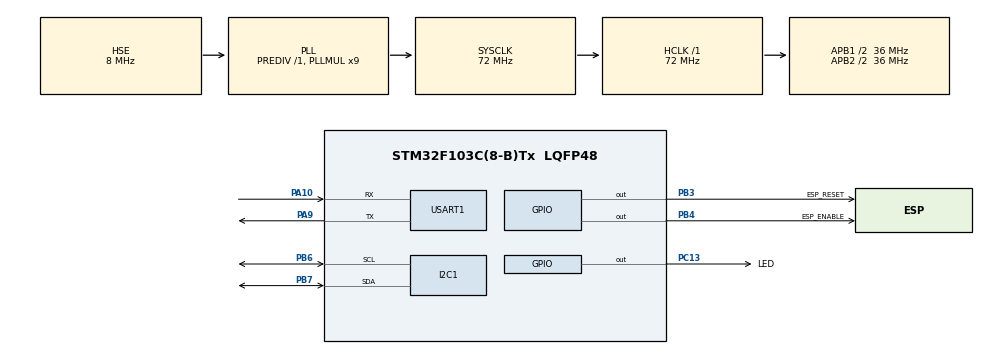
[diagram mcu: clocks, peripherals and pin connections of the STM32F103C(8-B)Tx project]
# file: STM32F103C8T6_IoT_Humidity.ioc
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Mcu.Family=STM32F1
Mcu.Name=STM32F103C(8-B)Tx
Mcu.Package=LQFP48
NVIC.PriorityGroup=NVIC_PRIORITYGROUP_4
NVIC.TIM2_IRQn=true\:0\:0\:false\:false\:true\:true\:true
NVIC.TIM3_IRQn=true\:0\:0\:false\:false\:true\:true\:true
NVIC.USART1_IRQn=true\:0\:0\:false\:false\:true\:true\:true
PA10.Mode=Asynchronous
PA10.Signal=USART1_RX
PA13.Mode=Serial_Wire
PA13.Signal=SYS_JTMS-SWDIO
PA14.Mode=Serial_Wire
PA14.Signal=SYS_JTCK-SWCLK
PA9.Mode=Asynchronous
PA9.Signal=USART1_TX
PB3.GPIO_Label=ESP_RESET
PB3.GPIO_Speed=GPIO_SPEED_FREQ_HIGH
PB3.PinState=GPIO_PIN_SET
PB3.Signal=GPIO_Output
PB4.GPIO_Label=ESP_ENABLE
PB4.GPIO_Speed=GPIO_SPEED_FREQ_HIGH
PB4.PinState=GPIO_PIN_SET
PB4.Signal=GPIO_Output
PB6.Mode=I2C
PB6.Signal=I2C1_SCL
PB7.Mode=I2C
PB7.Signal=I2C1_SDA
PC13-TAMPER-RTC.GPIO_Label=LED
PC13-TAMPER-RTC.GPIO_Speed=GPIO_SPEED_FREQ_HIGH
PC13-TAMPER-RTC.PinState=GPIO_PIN_SET
PC13-TAMPER-RTC.Signal=GPIO_Output
PD0-OSC_IN.Mode=HSE-External-Oscillator
PD0-OSC_IN.Signal=RCC_OSC_IN
PD1-OSC_OUT.Mode=HSE-External-Oscillator
PD1-OSC_OUT.Signal=RCC_OSC_OUT
ProjectManager.HeapSize=0x200
ProjectManager.StackSize=0x400
ProjectManager.TargetToolchain=STM32CubeIDE
RCC.AHBFreq_Value=72000000
RCC.APB1CLKDivider=RCC_HCLK_DIV2
RCC.APB1Freq_Value=36000000
RCC.APB1TimFreq_Value=72000000
RCC.APB2CLKDivider=RCC_HCLK_DIV2
RCC.APB2Freq_Value=36000000
RCC.APB2TimFreq_Value=72000000
RCC.HCLKFreq_Value=72000000
RCC.PLLMUL=RCC_PLL_MUL9
RCC.PLLSourceVirtual=RCC_PLLSOURCE_HSE
RCC.SYSCLKFreq_VALUE=72000000
RCC.SYSCLKSource=RCC_SYSCLKSOURCE_PLLCLK
RCC.USBFreq_Value=72000000
TIM2.Period=199
TIM2.Prescaler=7200
TIM3.Period=9999
TIM3.Prescaler=7200
USART1.VirtualMode=VM_ASYNC
VP_TIM2_VS_ClockSourceINT.Mode=Internal
VP_TIM3_VS_ClockSourceINT.Mode=Internal
board=custom

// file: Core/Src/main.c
/* USER CODE BEGIN Header */
/**
  ******************************************************************************
  * @file           : main.c
  * @brief          : Main program body
  ******************************************************************************
  * @attention
  *
  * <h2><center>&copy; Copyright (c) 2021 STMicroelectronics.
  * All rights reserved.</center></h2>
  *
  * This software component is licensed by ST under BSD 3-Clause license,
  * the "License"; You may not use this file except in compliance with the
  * License. You may obtain a copy of the License at:
  *                        opensource.org/licenses/BSD-3-Clause
  *
  ******************************************************************************
  */
/* USER CODE END Header */
#include "main.h"

/* USER CODE BEGIN Includes */
#include "AHT15.h"
#include "ESP8266.h"
/* USER CODE END Includes */

I2C_HandleTypeDef hi2c1;

TIM_HandleTypeDef htim2;
TIM_HandleTypeDef htim3;

UART_HandleTypeDef huart1;

void SystemClock_Config(void);
static void MX_GPIO_Init(void);
static void MX_I2C1_Init(void);
static void MX_TIM2_Init(void);
static void MX_TIM3_Init(void);
static void MX_USART1_UART_Init(void);

int main(void)
{

  /* MCU Configuration--------------------------------------------------------*/

  /* Reset of all peripherals, Initializes the Flash interface and the Systick. */
  HAL_Init();

  /* Configure the system clock */
  SystemClock_Config();

  /* Initialize all configured peripherals */
  MX_GPIO_Init();
  MX_I2C1_Init();
  MX_TIM2_Init();
  MX_TIM3_Init();
  MX_USART1_UART_Init();
  /* USER CODE BEGIN 2 */
  HAL_TIM_Base_Start_IT(&htim2);// 20 ms
  HAL_TIM_Base_Start_IT(&htim3);// 1 s
  HAL_Delay(100);
  AHT15_reset();
  HAL_Delay(100);
  AHT15_init();
  AHT15_read_data();
  __HAL_UART_ENABLE_IT(&huart1, UART_IT_RXNE);
  ESP_Server_Init();
  /* USER CODE END 2 */

  /* Infinite loop */
  while (1)
  {

    /* USER CODE BEGIN 3 */
	  if(measure_humidity)
	  {
		  AHT15_read_data();
		  measure_humidity = 0;
	  }

	  if(messageHandlerFlag)
	  {
		  messageHandler();
		  messageHandlerFlag = 0;
	  }

	  if(seconds > 86400)// 24 hours
		  NVIC_SystemReset();
  }
  /* USER CODE END 3 */
}

void SystemClock_Config(void)
{
  RCC_OscInitTypeDef RCC_OscInitStruct = {0};
  RCC_ClkInitTypeDef RCC_ClkInitStruct = {0};

  /** Initializes the RCC Oscillators according to the specified parameters
  * in the RCC_OscInitTypeDef structure.
  */
  RCC_OscInitStruct.OscillatorType = RCC_OSCILLATORTYPE_HSE;
  RCC_OscInitStruct.HSEState = RCC_HSE_ON;
  RCC_OscInitStruct.HSEPredivValue = RCC_HSE_PREDIV_DIV1;
  RCC_OscInitStruct.HSIState = RCC_HSI_ON;
  RCC_OscInitStruct.PLL.PLLState = RCC_PLL_ON;
  RCC_OscInitStruct.PLL.PLLSource = RCC_PLLSOURCE_HSE;
  RCC_OscInitStruct.PLL.PLLMUL = RCC_PLL_MUL9;
  if (HAL_RCC_OscConfig(&RCC_OscInitStruct) != HAL_OK)
  {
    Error_Handler();
  }
  /** Initializes the CPU, AHB and APB buses clocks
  */
  RCC_ClkInitStruct.ClockType = RCC_CLOCKTYPE_HCLK|RCC_CLOCKTYPE_SYSCLK
                              |RCC_CLOCKTYPE_PCLK1|RCC_CLOCKTYPE_PCLK2;
  RCC_ClkInitStruct.SYSCLKSource = RCC_SYSCLKSOURCE_PLLCLK;
  RCC_ClkInitStruct.AHBCLKDivider = RCC_SYSCLK_DIV1;
  RCC_ClkInitStruct.APB1CLKDivider = RCC_HCLK_DIV2;
  RCC_ClkInitStruct.APB2CLKDivider = RCC_HCLK_DIV2;

  if (HAL_RCC_ClockConfig(&RCC_ClkInitStruct, FLASH_LATENCY_2) != HAL_OK)
  {
    Error_Handler();
  }
}

static void MX_I2C1_Init(void)
{

  hi2c1.Instance = I2C1;
  hi2c1.Init.ClockSpeed = 100000;
  hi2c1.Init.DutyCycle = I2C_DUTYCYCLE_2;
  hi2c1.Init.OwnAddress1 = 0;
  hi2c1.Init.AddressingMode = I2C_ADDRESSINGMODE_7BIT;
  hi2c1.Init.DualAddressMode = I2C_DUALADDRESS_DISABLE;
  hi2c1.Init.OwnAddress2 = 0;
  hi2c1.Init.GeneralCallMode = I2C_GENERALCALL_DISABLE;
  hi2c1.Init.NoStretchMode = I2C_NOSTRETCH_DISABLE;
  if (HAL_I2C_Init(&hi2c1) != HAL_OK)
  {
    Error_Handler();
  }

}

static void MX_TIM2_Init(void)
{

  TIM_ClockConfigTypeDef sClockSourceConfig = {0};
  TIM_MasterConfigTypeDef sMasterConfig = {0};

  htim2.Instance = TIM2;
  htim2.Init.Prescaler = 7200;
  htim2.Init.CounterMode = TIM_COUNTERMODE_UP;
  htim2.Init.Period = 199;
  htim2.Init.ClockDivision = TIM_CLOCKDIVISION_DIV1;
  htim2.Init.AutoReloadPreload = TIM_AUTORELOAD_PRELOAD_DISABLE;
  if (HAL_TIM_Base_Init(&htim2) != HAL_OK)
  {
    Error_Handler();
  }
  sClockSourceConfig.ClockSource = TIM_CLOCKSOURCE_INTERNAL;
  if (HAL_TIM_ConfigClockSource(&htim2, &sClockSourceConfig) != HAL_OK)
  {
    Error_Handler();
  }
  sMasterConfig.MasterOutputTrigger = TIM_TRGO_RESET;
  sMasterConfig.MasterSlaveMode = TIM_MASTERSLAVEMODE_DISABLE;
  if (HAL_TIMEx_MasterConfigSynchronization(&htim2, &sMasterConfig) != HAL_OK)
  {
    Error_Handler();
  }

}

static void MX_TIM3_Init(void)
{

  TIM_ClockConfigTypeDef sClockSourceConfig = {0};
  TIM_MasterConfigTypeDef sMasterConfig = {0};

  htim3.Instance = TIM3;
  htim3.Init.Prescaler = 7200;
  htim3.Init.CounterMode = TIM_COUNTERMODE_UP;
  htim3.Init.Period = 9999;
  htim3.Init.ClockDivision = TIM_CLOCKDIVISION_DIV1;
  htim3.Init.AutoReloadPreload = TIM_AUTORELOAD_PRELOAD_DISABLE;
  if (HAL_TIM_Base_Init(&htim3) != HAL_OK)
  {
    Error_Handler();
  }
  sClockSourceConfig.ClockSource = TIM_CLOCKSOURCE_INTERNAL;
  if (HAL_TIM_ConfigClockSource(&htim3, &sClockSourceConfig) != HAL_OK)
  {
    Error_Handler();
  }
  sMasterConfig.MasterOutputTrigger = TIM_TRGO_RESET;
  sMasterConfig.MasterSlaveMode = TIM_MASTERSLAVEMODE_DISABLE;
  if (HAL_TIMEx_MasterConfigSynchronization(&htim3, &sMasterConfig) != HAL_OK)
  {
    Error_Handler();
  }

}

static void MX_USART1_UART_Init(void)
{

  huart1.Instance = USART1;
  huart1.Init.BaudRate = 115200;
  huart1.Init.WordLength = UART_WORDLENGTH_8B;
  huart1.Init.StopBits = UART_STOPBITS_1;
  huart1.Init.Parity = UART_PARITY_NONE;
  huart1.Init.Mode = UART_MODE_TX_RX;
  huart1.Init.HwFlowCtl = UART_HWCONTROL_NONE;
  huart1.Init.OverSampling = UART_OVERSAMPLING_16;
  if (HAL_UART_Init(&huart1) != HAL_OK)
  {
    Error_Handler();
  }

}

static void MX_GPIO_Init(void)
{
  GPIO_InitTypeDef GPIO_InitStruct = {0};

  /* GPIO Ports Clock Enable */
  __HAL_RCC_GPIOC_CLK_ENABLE();
  __HAL_RCC_GPIOD_CLK_ENABLE();
  __HAL_RCC_GPIOA_CLK_ENABLE();
  __HAL_RCC_GPIOB_CLK_ENABLE();

  /*Configure GPIO pin Output Level */
  HAL_GPIO_WritePin(LED_GPIO_Port, LED_Pin, GPIO_PIN_SET);

  /*Configure GPIO pin Output Level */
  HAL_GPIO_WritePin(GPIOB, ESP_RESET_Pin|ESP_ENABLE_Pin, GPIO_PIN_SET);

  /*Configure GPIO pin : LED_Pin */
  GPIO_InitStruct.Pin = LED_Pin;
  GPIO_InitStruct.Mode = GPIO_MODE_OUTPUT_PP;
  GPIO_InitStruct.Pull = GPIO_NOPULL;
  GPIO_InitStruct.Speed = GPIO_SPEED_FREQ_HIGH;
  HAL_GPIO_Init(LED_GPIO_Port, &GPIO_InitStruct);

  /*Configure GPIO pins : ESP_RESET_Pin ESP_ENABLE_Pin */
  GPIO_InitStruct.Pin = ESP_RESET_Pin|ESP_ENABLE_Pin;
  GPIO_InitStruct.Mode = GPIO_MODE_OUTPUT_PP;
  GPIO_InitStruct.Pull = GPIO_NOPULL;
  GPIO_InitStruct.Speed = GPIO_SPEED_FREQ_HIGH;
  HAL_GPIO_Init(GPIOB, &GPIO_InitStruct);

}

void Error_Handler(void)
{
  __disable_irq();
  while (1)
  {
  }
}

/************************ (C) COPYRIGHT STMicroelectronics *****END OF FILE****/
